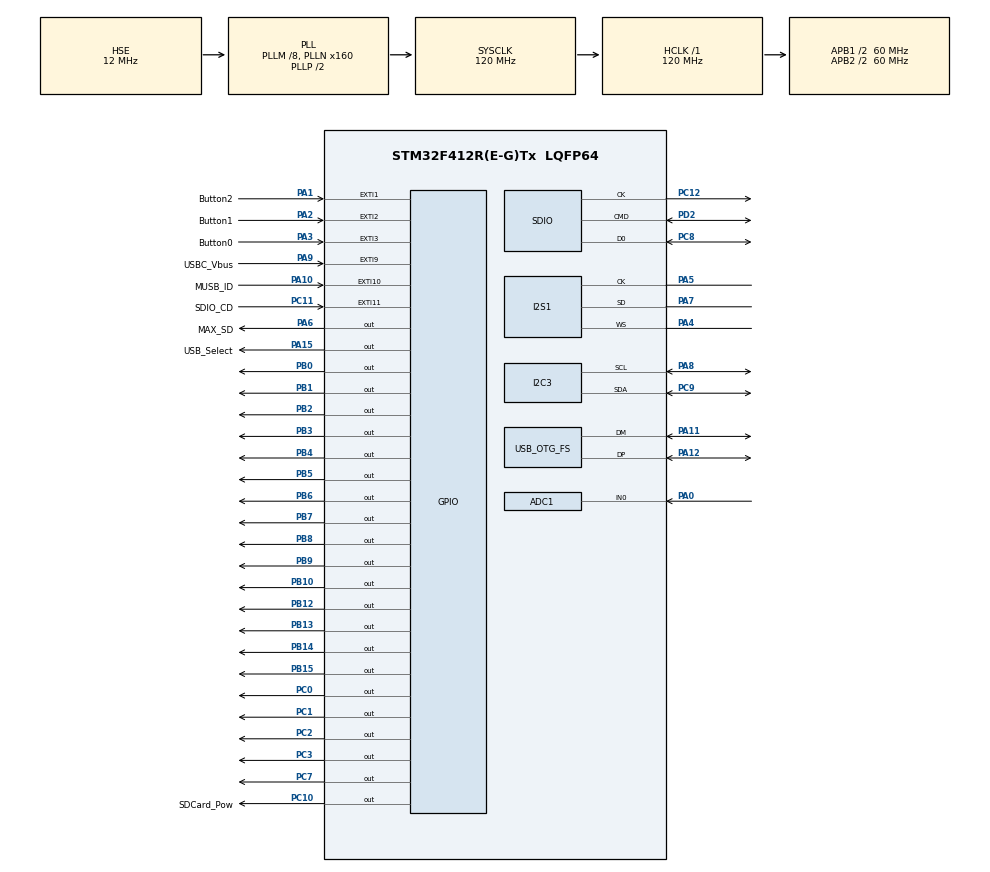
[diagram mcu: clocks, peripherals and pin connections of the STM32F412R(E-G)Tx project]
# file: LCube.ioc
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Dma.SPI1_TX.1.Priority=DMA_PRIORITY_MEDIUM
TIM1.OCIdleState_1=TIM_OCIDLESTATE_RESET
FATFS._USE_LFN=1
I2S1.ErrorAudioFreq=0.24 %
Dma.TIM1_CH1.4.MemDataAlignment=DMA_MDATAALIGN_HALFWORD
PB10.GPIO_PuPd=GPIO_PULLDOWN
PC9.GPIO_PuPdOD=GPIO_NOPULL
VP_FATFS_VS_SDIO.Mode=SDIO
I2C3.DutyCycle=I2C_DUTYCYCLE_2
Dma.SPI1_TX.1.FIFOMode=DMA_FIFOMODE_ENABLE
Dma.TIM1_CH2.5.MemInc=DMA_MINC_ENABLE
ADC1.LowThreshold=0x30
TIM1.OCIdleState_3=TIM_OCIDLESTATE_RESET
PC12.Signal=SDIO_CK
Dma.TIM1_CH1.4.Direction=DMA_MEMORY_TO_PERIPH
Dma.I2C3_TX.2.FIFOMode=DMA_FIFOMODE_DISABLE
Dma.I2C3_RX.3.Mode=DMA_NORMAL
I2S1.Mode=I2S_MODE_MASTER_TX
PB9.GPIO_ModeDefaultOutputPP=GPIO_MODE_OUTPUT_PP
VP_RTC_VS_RTC_Activate.Mode=RTC_Enabled
PC0.GPIO_ModeDefaultOutputPP=GPIO_MODE_OUTPUT_PP
PA6.GPIO_Label=MAX_SD
PB13.Signal=GPIO_Output
Dma.TIM1_UP.8.PeriphDataAlignment=DMA_PDATAALIGN_HALFWORD
PB3.GPIO_Speed=GPIO_SPEED_FREQ_MEDIUM
I2S1.Instance=SPI$Index
TIM4.TIM_MasterOutputTrigger=TIM_TRGO_UPDATE
PC3.GPIO_Speed=GPIO_SPEED_FREQ_MEDIUM
RCC.SYSCLKSource=RCC_SYSCLKSOURCE_PLLCLK
VP_TIM1_VS_no_output1.Mode=PWM Generation1 No Output
NVIC.EXTI1_IRQn=true\:15\:0\:true\:false\:true\:true\:true
PA4.Mode=Half_Duplex_Master
STMicroelectronics.X-CUBE-AI.5.1.2.ModelKind-7eaf034a37b35a45d6d7cf12b8d3d31f6f34ced2ad5d0e77518c34e53d65cea4=KERAS
RCC.APB2TimFreq_Value=120000000
Dma.I2C3_TX.2.Priority=DMA_PRIORITY_VERY_HIGH
PB6.Signal=GPIO_Output
VP_TIM10_VS_ClockSourceINT.Mode=Enable_Timer
Dma.ADC1.0.Direction=DMA_PERIPH_TO_MEMORY
PC7.Signal=GPIO_Output
ADC1.InjNumberOfConversion=0
PB15.GPIO_ModeDefaultOutputPP=GPIO_MODE_OUTPUT_PP
PC3.Signal=GPIO_Output
Dma.ADC1.0.MemDataAlignment=DMA_MDATAALIGN_HALFWORD
NVIC.EXTI15_10_IRQn=true\:15\:0\:true\:false\:true\:true\:true
Dma.SPI1_TX.1.PeriphDataAlignment=DMA_PDATAALIGN_HALFWORD
NVIC.TIM1_TRG_COM_TIM11_IRQn=true\:14\:0\:true\:false\:true\:true\:true
PB2.Signal=GPIO_Output
PB12.GPIO_ModeDefaultOutputPP=GPIO_MODE_OUTPUT_PP
PC1.GPIO_PuPd=GPIO_PULLDOWN
Dma.I2C3_TX.2.Instance=DMA1_Stream4
Dma.TIM1_CH4/TRIG/COM.7.Mode=DMA_CIRCULAR
TIM12.Period=1
STMicroelectronics.X-CUBE-AI.5.1.2.StackSize=0x4000
STMicroelectronics.X-CUBE-AI.5.1.2.ModelActualCompression-7eaf034a37b35a45d6d7cf12b8d3d31f6f34ced2ad5d0e77518c34e53d65cea4=0.0
Dma.TIM1_CH4/TRIG/COM.7.Priority=DMA_PRIORITY_HIGH
Dma.TIM1_CH1.4.FIFOMode=DMA_FIFOMODE_ENABLE
Dma.TIM1_UP.8.MemBurst=DMA_MBURST_INC8
Dma.SPI1_TX.1.Mode=DMA_CIRCULAR
PB1.GPIO_Speed=GPIO_SPEED_FREQ_MEDIUM
PA8.GPIO_PuPdOD=GPIO_NOPULL
TIM1.OC2Preload_PWM=ENABLE
PA5.GPIO_PuPd=GPIO_PULLDOWN
Dma.ADC1.0.PeriphInc=DMA_PINC_DISABLE
PC9.Mode=I2C
Dma.TIM1_CH4/TRIG/COM.7.FIFOMode=DMA_FIFOMODE_ENABLE
STMicroelectronics.X-CUBE-AI.5.1.2.ModelNameList=voicecommandsnn
FATFS._USE_MKFS=0
PA8.Signal=I2C3_SCL
Dma.TIM1_CH3.6.PeriphInc=DMA_PINC_DISABLE
Dma.TIM1_CH2.5.PeriphDataAlignment=DMA_PDATAALIGN_BYTE
TIM4.Period=3
Dma.TIM1_CH1.4.PeriphDataAlignment=DMA_PDATAALIGN_HALFWORD
PB2.GPIO_PuPd=GPIO_PULLDOWN
VP_TIM1_VS_ClockSourceINT.Mode=Internal
ADC1.SamplingTime-0\#ChannelRegularConversion=ADC_SAMPLETIME_144CYCLES
FATFS._FS_TIMEOUT=2000
PA0.Signal=ADCx_IN0
Dma.TIM1_CH2.5.MemDataAlignment=DMA_MDATAALIGN_BYTE
STMicroelectronics.X-CUBE-AI.5.1.2.MaximumNumberOfInputLayer=1
Mcu.Package=LQFP64
PB9.Signal=GPIO_Output
PB1.Signal=GPIO_Output
PB14.GPIO_PuPd=GPIO_PULLDOWN
PA10.GPIO_ModeDefaultEXTI=GPIO_MODE_IT_RISING_FALLING
PB6.GPIO_ModeDefaultOutputPP=GPIO_MODE_OUTPUT_PP
PA10.Signal=GPXTI10
PB9.GPIO_PuPd=GPIO_PULLDOWN
PA6.GPIO_ModeDefaultOutputPP=GPIO_MODE_OUTPUT_PP
PB5.GPIO_Speed=GPIO_SPEED_FREQ_MEDIUM
RCC.APB2CLKDivider=RCC_HCLK_DIV2
NVIC.DMA2_Stream2_IRQn=true\:12\:0\:true\:false\:true\:false\:true
NVIC.EXTI2_IRQn=true\:15\:0\:true\:false\:true\:true\:true
RCC.APB1TimFreq_Value=120000000
Dma.SPI1_TX.1.PeriphBurst=DMA_PBURST_SINGLE
Dma.ADC1.0.FIFOMode=DMA_FIFOMODE_ENABLE
PB0.GPIO_ModeDefaultOutputPP=GPIO_MODE_OUTPUT_PP
TIM1.Period=5999
TIM1.Channel-PWM\ Generation2\ No\ Output=TIM_CHANNEL_2
Dma.I2C3_TX.2.PeriphInc=DMA_PINC_DISABLE
PC12.GPIO_PuPd=GPIO_NOPULL
TIM5.CounterMode=TIM_COUNTERMODE_UP
PB2.GPIO_ModeDefaultOutputPP=GPIO_MODE_OUTPUT_PP
TIM1.OCFastMode_PWM-PWM\ Generation4\ No\ Output=TIM_OCFAST_ENABLE
VP_TIM5_VS_ClockSourceITR.Mode=TriggerSource_ITR2
ADC1.EOCSelection=ADC_EOC_SEQ_CONV
STMicroelectronics.X-CUBE-AI.5.1.2.MaximumNumberOfOutputLayer=1
Dma.SPI1_TX.1.Instance=DMA2_Stream3
FATFS._MIN_SS=512
PA5.Mode=Half_Duplex_Master
STMicroelectronics.X-CUBE-AI.5.1.2.ModelType-7eaf034a37b35a45d6d7cf12b8d3d31f6f34ced2ad5d0e77518c34e53d65cea4=Saved model
PB7.GPIO_PuPd=GPIO_PULLDOWN
PB5.GPIO_ModeDefaultOutputPP=GPIO_MODE_OUTPUT_PP
PC7.GPIO_ModeDefaultOutputPP=GPIO_MODE_OUTPUT_PP
Dma.I2C3_RX.3.Priority=DMA_PRIORITY_LOW
TIM1.OCPolarity_1=TIM_OCPOLARITY_HIGH
Dma.TIM1_CH2.5.FIFOMode=DMA_FIFOMODE_ENABLE
TIM1.OCPolarity_3=TIM_OCPOLARITY_HIGH
Dma.ADC1.0.Instance=DMA2_Stream0
ADC1.Rank-0\#ChannelRegularConversion=1
Dma.TIM1_CH4/TRIG/COM.7.Direction=DMA_MEMORY_TO_PERIPH
PD2.GPIO_PuPd=GPIO_NOPULL
Dma.TIM1_CH2.5.PeriphBurst=DMA_PBURST_SINGLE
TIM1.CounterMode=TIM_COUNTERMODE_DOWN
PA9.GPIO_Label=USBC_Vbus
PB6.GPIO_PuPd=GPIO_PULLDOWN
TIM1.OC3Preload_PWM=ENABLE
PH1\ -\ OSC_OUT.Mode=HSE-External-Oscillator
PB8.GPIO_PuPd=GPIO_PULLDOWN
PC2.Signal=GPIO_Output
TIM1.OC4Preload_PWM=ENABLE
TIM4.TIM_MasterSlaveMode=TIM_MASTERSLAVEMODE_DISABLE
NVIC.DMA2_Stream1_IRQn=true\:12\:0\:true\:false\:true\:false\:true
PC0.Signal=GPIO_Output
RCC.APB1CLKDivider=RCC_HCLK_DIV2
PC14-OSC32_IN.Signal=RCC_OSC32_IN
ADC1.WatchdogMode=ADC_ANALOGWATCHDOG_SINGLE_REG
PA3.GPIO_ModeDefaultEXTI=GPIO_MODE_IT_RISING_FALLING
I2S1.Standard=I2S_STANDARD_PHILIPS
SDIO.ClockPowerSave=SDIO_CLOCK_POWER_SAVE_DISABLE
TIM1.AutoReloadPreload=TIM_AUTORELOAD_PRELOAD_DISABLE
Dma.SPI1_TX.1.MemDataAlignment=DMA_MDATAALIGN_HALFWORD
PB14.GPIO_Speed=GPIO_SPEED_FREQ_MEDIUM
Dma.ADC1.0.Priority=DMA_PRIORITY_LOW
PA9.Signal=GPXTI9
PB13.GPIO_Speed=GPIO_SPEED_FREQ_MEDIUM
VP_TIM1_VS_ClockSourceITR.Mode=TriggerSource_ITR0
STMicroelectronics.X-CUBE-AI.5.1.2.InternalRamActivationBufferMaxSize=AI_VOICECOMMANDSNN_DATA_ACTIVATIONS_SIZE
PB4.GPIO_PuPd=GPIO_PULLDOWN
PC7.GPIO_PuPd=GPIO_PULLDOWN
Dma.TIM1_CH4/TRIG/COM.7.Instance=DMA2_Stream4
SDIO.ClockDiv=2
NVIC.DMA2_Stream6_IRQn=true\:12\:0\:true\:false\:true\:false\:true
PB10.Signal=GPIO_Output
PB14.Signal=GPIO_Output
PA5.Signal=I2S1_CK
PC12.Mode=SD_1_bit
PH1\ -\ OSC_OUT.Signal=RCC_OSC_OUT
Dma.TIM1_UP.8.FIFOThreshold=DMA_FIFO_THRESHOLD_FULL
FATFS._USE_EXPAND=1
Dma.TIM1_UP.8.PeriphBurst=DMA_PBURST_SINGLE
Dma.TIM1_CH3.6.MemBurst=DMA_MBURST_INC8
Dma.TIM1_CH1.4.Priority=DMA_PRIORITY_HIGH
PA7.GPIO_Speed=GPIO_SPEED_FREQ_LOW
PB13.GPIO_PuPd=GPIO_PULLDOWN
TIM1.TIM_MasterOutputTrigger=TIM_TRGO_RESET
STMicroelectronics.X-CUBE-AI.5.1.2.ActivationBufferSizeList=21352
PC11.GPIO_ModeDefaultEXTI=GPIO_MODE_IT_RISING_FALLING
VP_TIM1_VS_no_output3.Mode=PWM Generation3 No Output
VP_TIM4_VS_ClockSourceITR.Mode=TriggerSource_ITR2
PA1.GPIO_Label=Button2
RCC.RCC_RTC_Clock_SourceVirtual=RCC_RTCCLKSOURCE_LSE
PC1.GPIO_Speed=GPIO_SPEED_FREQ_MEDIUM
Dma.I2C3_RX.3.PeriphDataAlignment=DMA_PDATAALIGN_BYTE
I2S1.FullDuplexMode=I2S_FULLDUPLEXMODE_DISABLE
ADC1.DMAContinuousRequests=ENABLE
Dma.TIM1_CH2.5.Instance=DMA2_Stream2
VP_TIM12_VS_OPM.Mode=OPM_bit
PA13.Mode=Serial_Wire
TIM1.Channel-PWM\ Generation4\ No\ Output=TIM_CHANNEL_4
TIM1.OCFastMode_PWM-PWM\ Generation2\ No\ Output=TIM_OCFAST_ENABLE
NVIC.TIM1_BRK_TIM9_IRQn=true\:15\:0\:true\:false\:true\:true\:true
NVIC.DMA2_Stream4_IRQn=true\:12\:0\:true\:false\:true\:false\:true
ADC1.ExternalTrigConv=ADC_EXTERNALTRIGCONV_T3_TRGO
PC8.Mode=SD_1_bit
PC12.GPIO_Speed_High_Default=GPIO_SPEED_FREQ_HIGH
PC8.GPIO_PuPd=GPIO_NOPULL
PC8.GPIO_Speed_High_Default=GPIO_SPEED_FREQ_HIGH
PA4.Signal=I2S1_WS
PB5.Signal=GPIO_Output
ADC1.master=1
Dma.TIM1_CH2.5.FIFOThreshold=DMA_FIFO_THRESHOLD_FULL
TIM1.OCFastMode_PWM-PWM\ Generation1\ No\ Output=TIM_OCFAST_ENABLE
PB5.GPIO_PuPd=GPIO_PULLDOWN
VP_TIM5_VS_ControllerModeClock.Mode=Clock Mode
PA11.Signal=USB_OTG_FS_DM
ProjectManager.HeapSize=0x10000
Dma.I2C3_RX.3.MemInc=DMA_MINC_ENABLE
NVIC.TIM1_UP_TIM10_IRQn=true\:13\:0\:true\:false\:true\:true\:true
Dma.TIM1_CH3.6.Mode=DMA_CIRCULAR
VP_TIM4_VS_ClockSourceINT.Mode=Internal
NVIC.PriorityGroup=NVIC_PRIORITYGROUP_4
STMicroelectronics.X-CUBE-AI.5.1.2.WorkingBufferStartAddrList=0xFFFFFFFF
SDIO.HardwareFlowControl=SDIO_HARDWARE_FLOW_CONTROL_ENABLE
PA8.Mode=I2C
Dma.TIM1_CH4/TRIG/COM.7.FIFOThreshold=DMA_FIFO_THRESHOLD_FULL
PC3.GPIO_ModeDefaultOutputPP=GPIO_MODE_OUTPUT_PP
PB1.GPIO_ModeDefaultOutputPP=GPIO_MODE_OUTPUT_PP
PD2.Signal=SDIO_CMD
PB6.GPIO_Speed=GPIO_SPEED_FREQ_MEDIUM
PB12.GPIO_PuPd=GPIO_PULLDOWN
Dma.TIM1_CH1.4.PeriphInc=DMA_PINC_DISABLE
PB0.Signal=GPIO_Output
PC1.Signal=GPIO_Output
I2S1.CPOL=I2S_CPOL_LOW
Mcu.Family=STM32F4
ADC1.ITMode=ENABLE
VP_STMicroelectronics.X-CUBE-AI_VS_ArtificialOoIntelligenceJjXAaCUBEAaAI_5.1.2.Mode=ArtificialOoIntelligenceJjXAaCUBEAaAI
RCC.CortexFreq_Value=120000000
PB10.GPIO_Speed=GPIO_SPEED_FREQ_MEDIUM
Dma.I2C3_TX.2.MemDataAlignment=DMA_MDATAALIGN_BYTE
ADC1.ContinuousConvMode=DISABLE
PC10.Signal=GPIO_Output
PB2.GPIO_Speed=GPIO_SPEED_FREQ_MEDIUM
Dma.SPI1_TX.1.PeriphInc=DMA_PINC_DISABLE
Dma.TIM1_CH3.6.MemInc=DMA_MINC_ENABLE
NVIC.EXTI3_IRQn=true\:15\:0\:true\:false\:true\:true\:true
Dma.TIM1_CH3.6.Instance=DMA2_Stream6
PA11.Mode=Device_Only
Dma.ADC1.0.FIFOThreshold=DMA_FIFO_THRESHOLD_FULL
STMicroelectronics.X-CUBE-AI.5.1.2.MaximumSizeOfInputLayer=AI_VOICECOMMANDSNN_IN_1_SIZE_BYTES
PC2.GPIO_Speed=GPIO_SPEED_FREQ_MEDIUM
NVIC.DMA1_Stream4_IRQn=true\:14\:0\:true\:false\:true\:false\:true
PB15.Signal=GPIO_Output
Dma.TIM1_CH4/TRIG/COM.7.MemBurst=DMA_MBURST_INC16
Dma.TIM1_UP.8.FIFOMode=DMA_FIFOMODE_ENABLE
ProjectManager.StackSize=0x4000
TIM1.OC1Preload_PWM=ENABLE
NVIC.ADC_IRQn=true\:9\:0\:true\:false\:true\:true\:true
PA15.GPIO_Label=USB_Select
PC11.GPIO_PuPd=GPIO_PULLUP
PB10.GPIO_ModeDefaultOutputPP=GPIO_MODE_OUTPUT_PP
Dma.TIM1_UP.8.MemInc=DMA_MINC_ENABLE
PA12.Signal=USB_OTG_FS_DP
Dma.TIM1_UP.8.Priority=DMA_PRIORITY_VERY_HIGH
TIM1.Prescaler=0
PH0\ -\ OSC_IN.Signal=RCC_OSC_IN
RCC.RCC_RTC_Clock_Source=RCC_RTCCLKSOURCE_LSE
PB1.GPIO_PuPd=GPIO_PULLDOWN
RCC.HCLKFreq_Value=120000000
RCC.FLatency=FLASH_LATENCY_4
TIM3.Period=1
Dma.TIM1_CH1.4.MemBurst=DMA_MBURST_INC8
Dma.TIM1_CH2.5.Direction=DMA_MEMORY_TO_PERIPH
Dma.TIM1_UP.8.MemDataAlignment=DMA_MDATAALIGN_HALFWORD
PB13.GPIO_ModeDefaultOutputPP=GPIO_MODE_OUTPUT_PP
NVIC.DMA2_Stream0_IRQn=true\:13\:0\:true\:false\:true\:false\:true
RCC.AHBFreq_Value=120000000
Dma.TIM1_CH1.4.MemInc=DMA_MINC_ENABLE
Dma.TIM1_CH4/TRIG/COM.7.PeriphInc=DMA_PINC_DISABLE
ADC1.Channel-0\#ChannelRegularConversion=ADC_CHANNEL_0
RCC.HSE_VALUE=12000000
PA4.GPIO_PuPd=GPIO_PULLDOWN
Dma.ADC1.0.PeriphBurst=DMA_PBURST_SINGLE
PA4.GPIO_Speed=GPIO_SPEED_FREQ_LOW
NVIC.I2C3_EV_IRQn=true\:12\:0\:true\:false\:true\:true\:true
TIM1.Channel-PWM\ Generation3\ No\ Output=TIM_CHANNEL_3
Dma.TIM1_CH3.6.Priority=DMA_PRIORITY_HIGH
PA6.GPIO_PuPd=GPIO_PULLUP
PB3.GPIO_PuPd=GPIO_PULLDOWN
Dma.I2C3_RX.3.Direction=DMA_PERIPH_TO_MEMORY
STMicroelectronics.X-CUBE-AI.5.1.2.ModelFlashOccupation-7eaf034a37b35a45d6d7cf12b8d3d31f6f34ced2ad5d0e77518c34e53d65cea4=45420
Dma.TIM1_CH3.6.FIFOThreshold=DMA_FIFO_THRESHOLD_FULL
PC14-OSC32_IN.Mode=LSE-External-Oscillator
TIM1.OCFastMode_PWM-PWM\ Generation3\ No\ Output=TIM_OCFAST_ENABLE
PA14.Mode=Serial_Wire
TIM3.Prescaler=1874
PC11.GPIO_Label=SDIO_CD
Dma.TIM1_CH2.5.PeriphInc=DMA_PINC_DISABLE
PA10.GPIO_Label=MUSB_ID
PB7.Signal=GPIO_Output
STMicroelectronics.X-CUBE-AI.5.1.2.ModelStructureFile-7eaf034a37b35a45d6d7cf12b8d3d31f6f34ced2ad5d0e77518c34e53d65cea4=D\:\\Projects\\NN_Ledokol\\model.h5
SH.ADCx_IN0.0=ADC1_IN0,IN0
VP_TIM12_VS_ClockSourceINT.Mode=Internal
VP_TIM11_VS_OPM.Mode=OPM_bit
Dma.SPI1_TX.1.MemBurst=DMA_MBURST_INC8
Dma.TIM1_CH3.6.PeriphBurst=DMA_PBURST_SINGLE
Dma.I2C3_TX.2.PeriphDataAlignment=DMA_PDATAALIGN_BYTE
PA6.Signal=GPIO_Output
PB15.GPIO_PuPd=GPIO_PULLDOWN
NVIC.OTG_FS_IRQn=true\:7\:0\:true\:false\:true\:true\:true
PA2.GPIO_Label=Button1
Dma.TIM1_CH2.5.Mode=DMA_CIRCULAR
USB_OTG_FS.VirtualMode=Device_Only
PA15.Signal=GPIO_Output
PB8.GPIO_ModeDefaultOutputPP=GPIO_MODE_OUTPUT_PP
Dma.TIM1_UP.8.Instance=DMA2_Stream5
PB9.GPIO_Speed=GPIO_SPEED_FREQ_MEDIUM
TIM1.BreakState=TIM_BREAK_DISABLE
Dma.ADC1.0.MemBurst=DMA_MBURST_INC8
PC2.GPIO_ModeDefaultOutputPP=GPIO_MODE_OUTPUT_PP
Dma.Request2=I2C3_TX
Dma.Request1=SPI1_TX
Dma.Request4=TIM1_CH1
Dma.Request3=I2C3_RX
Dma.Request6=TIM1_CH3
Dma.Request5=TIM1_CH2
Dma.Request8=TIM1_UP
Dma.Request7=TIM1_CH4/TRIG/COM
PC0.GPIO_PuPd=GPIO_PULLDOWN
Dma.Request0=ADC1
PA1.GPIO_ModeDefaultEXTI=GPIO_MODE_IT_RISING_FALLING
VP_TIM3_VS_ClockSourceINT.Mode=Internal
STMicroelectronics.X-CUBE-AI.5.1.2.ModelHashList=7eaf034a37b35a45d6d7cf12b8d3d31f6f34ced2ad5d0e77518c34e53d65cea4
PB4.Signal=GPIO_Output
PB4.GPIO_ModeDefaultOutputPP=GPIO_MODE_OUTPUT_PP
PA3.Signal=GPXTI3
Dma.I2C3_TX.2.Mode=DMA_NORMAL
PB7.GPIO_Speed=GPIO_SPEED_FREQ_MEDIUM
STMicroelectronics.X-CUBE-AI.5.1.2.MaximumSizeOfOutputLayer=AI_VOICECOMMANDSNN_OUT_1_SIZE_BYTES
PC15-OSC32_OUT.Mode=LSE-External-Oscillator
Dma.I2C3_RX.3.FIFOMode=DMA_FIFOMODE_DISABLE
Dma.TIM1_CH2.5.Priority=DMA_PRIORITY_HIGH
I2C3.I2C_Mode=I2C_Fast
Dma.SPI1_TX.1.MemInc=DMA_MINC_ENABLE
TIM1.OCMode_PWM-PWM\ Generation4\ No\ Output=TIM_OCMODE_PWM1
STMicroelectronics.X-CUBE-AI.5.1.2.LatestDirectoryUsed-7eaf034a37b35a45d6d7cf12b8d3d31f6f34ced2ad5d0e77518c34e53d65cea4=D\:\\Projects\\NN_Ledokol
PA7.Mode=Half_Duplex_Master
PC10.GPIO_Label=SDCard_Pow
STMicroelectronics.X-CUBE-AI.5.1.2.ModelRamOccupation-7eaf034a37b35a45d6d7cf12b8d3d31f6f34ced2ad5d0e77518c34e53d65cea4=21352
Dma.TIM1_CH1.4.FIFOThreshold=DMA_FIFO_THRESHOLD_FULL
PC11.Signal=GPXTI11
Dma.TIM1_CH1.4.Instance=DMA2_Stream1
RCC.RCC_TIM_PRescaler_Selection=RCC_TIMPRES_DESACTIVATED
PC8.Signal=SDIO_D0
TIM1.Pulse-PWM\ Generation1\ No\ Output=5980
Dma.TIM1_UP.8.Mode=DMA_CIRCULAR
I2S1.AudioFreq=AudioFreqCustomValue
NVIC.DMA1_Stream1_IRQn=true\:14\:0\:false\:false\:true\:false\:true
VP_RNG_VS_RNG.Mode=RNG_Activate
Dma.SPI1_TX.1.Direction=DMA_MEMORY_TO_PERIPH
TIM5.ClockDivision=TIM_CLOCKDIVISION_DIV1
VP_TIM11_VS_ClockSourceINT.Mode=Enable_Timer
TIM1.ClockDivision=TIM_CLOCKDIVISION_DIV1
TIM1.Channel-PWM\ Generation1\ No\ Output=TIM_CHANNEL_1
TIM1.Pulse-PWM\ Generation2\ No\ Output=5980
PB0.GPIO_Speed=GPIO_SPEED_FREQ_MEDIUM
SDIO.ClockBypass=SDIO_CLOCK_BYPASS_DISABLE
PA13.Signal=SYS_JTMS-SWDIO
Dma.ADC1.0.PeriphDataAlignment=DMA_PDATAALIGN_HALFWORD
STMicroelectronics.X-CUBE-AI.5.1.2.ModelMacc-7eaf034a37b35a45d6d7cf12b8d3d31f6f34ced2ad5d0e77518c34e53d65cea4=406205
PH0\ -\ OSC_IN.Mode=HSE-External-Oscillator
PC0.GPIO_Speed=GPIO_SPEED_FREQ_MEDIUM
Dma.I2C3_RX.3.PeriphInc=DMA_PINC_DISABLE
ProjectManager.TargetToolchain=STM32CubeIDE
ADC1.HighThreshold=0xFCF
TIM1.OCMode_PWM-PWM\ Generation3\ No\ Output=TIM_OCMODE_PWM1
Dma.ADC1.0.Mode=DMA_CIRCULAR
FATFS._CODE_PAGE=866
NVIC.TIM8_BRK_TIM12_IRQn=true\:15\:0\:true\:false\:true\:true\:true
Dma.TIM1_CH3.6.MemDataAlignment=DMA_MDATAALIGN_HALFWORD
I2S1.VirtualMode=I2S_MODE_MASTER
Dma.TIM1_UP.8.Direction=DMA_MEMORY_TO_PERIPH
Dma.I2C3_RX.3.Instance=DMA1_Stream1
RCC.USBFreq_Value=48000000
NVIC.DMA2_Stream3_IRQn=true\:6\:0\:true\:false\:true\:false\:true
PC15-OSC32_OUT.Signal=RCC_OSC32_OUT
PB14.GPIO_ModeDefaultOutputPP=GPIO_MODE_OUTPUT_PP
PA7.GPIO_PuPd=GPIO_PULLUP
PA1.Signal=GPXTI1
PB12.GPIO_Speed=GPIO_SPEED_FREQ_MEDIUM
PD2.Mode=SD_1_bit
Dma.SPI1_TX.1.FIFOThreshold=DMA_FIFO_THRESHOLD_FULL
Dma.TIM1_CH1.4.PeriphBurst=DMA_PBURST_SINGLE
Dma.TIM1_UP.8.PeriphInc=DMA_PINC_DISABLE
board=custom
PC7.GPIO_Speed=GPIO_SPEED_FREQ_MEDIUM
RCC.VCOOutputFreq_Value=240000000
TIM11.Period=1
VP_TIM1_VS_no_output4.Mode=PWM Generation4 No Output
ADC1.EnableAnalogWatchDog=true
Dma.TIM1_CH4/TRIG/COM.7.MemInc=DMA_MINC_ENABLE
TIM1.Pulse-PWM\ Generation4\ No\ Output=700
FATFS._FS_NORTC=1
FATFS.USE_DMA_CODE_SD=0
TIM10.Period=1
PB4.GPIO_Speed=GPIO_SPEED_FREQ_MEDIUM
RCC.APB2Freq_Value=60000000
FATFS._FS_EXFAT=1
Dma.I2C3_TX.2.MemInc=DMA_MINC_ENABLE
TIM1.OCMode_PWM-PWM\ Generation1\ No\ Output=TIM_OCMODE_PWM1
PB7.GPIO_ModeDefaultOutputPP=GPIO_MODE_OUTPUT_PP
PB15.GPIO_Speed=GPIO_SPEED_FREQ_MEDIUM
NVIC.DMA2_Stream5_IRQn=true\:11\:0\:true\:false\:true\:false\:true
Dma.TIM1_CH3.6.FIFOMode=DMA_FIFOMODE_ENABLE
STMicroelectronics.X-CUBE-AI.5.1.2.ModelCompression-7eaf034a37b35a45d6d7cf12b8d3d31f6f34ced2ad5d0e77518c34e53d65cea4=1
STMicroelectronics.X-CUBE-AI.5.1.2.XAaCUBEAaAICcArtificialOoIntelligenceJjCore=true
PC2.GPIO_PuPd=GPIO_PULLDOWN
VP_TIM1_VS_no_output2.Mode=PWM Generation2 No Output
ADC1.NbrOfConversion=1
Mcu.Name=STM32F412R(E-G)Tx
STMicroelectronics.X-CUBE-AI.5.1.2.HeapSize=0x10000
PA2.Signal=GPXTI2
STMicroelectronics.X-CUBE-AI.5.1.2.ModelName-7eaf034a37b35a45d6d7cf12b8d3d31f6f34ced2ad5d0e77518c34e53d65cea4=voicecommandsnn
FATFS._MAX_SS=4096
VP_TIM10_VS_OPM.Mode=OPM_bit
Dma.TIM1_CH3.6.PeriphDataAlignment=DMA_PDATAALIGN_HALFWORD
Dma.TIM1_CH4/TRIG/COM.7.PeriphDataAlignment=DMA_PDATAALIGN_BYTE
PB3.Signal=GPIO_Output
RCC.SYSCLKFreq_VALUE=120000000
PA12.Mode=Device_Only
I2S1.AudioFreqCustom=44100
TIM5.Prescaler=29999
Dma.TIM1_CH3.6.Direction=DMA_MEMORY_TO_PERIPH
NVIC.EXTI9_5_IRQn=true\:15\:0\:true\:false\:true\:true\:true
PA14.Signal=SYS_JTCK-SWCLK
Dma.ADC1.0.MemInc=DMA_MINC_ENABLE
FATFS._USE_TRIM=0
PA2.GPIO_ModeDefaultEXTI=GPIO_MODE_IT_RISING_FALLING
Dma.I2C3_RX.3.MemDataAlignment=DMA_MDATAALIGN_BYTE
PA5.GPIO_Speed=GPIO_SPEED_FREQ_LOW
RCC.PLLQ=5
PC1.GPIO_ModeDefaultOutputPP=GPIO_MODE_OUTPUT_PP
RCC.PLLR=5
ADC1.NbrOfConversionFlag=1
RCC.PLLM=8
RCC.PLLN=160
PA9.GPIO_ModeDefaultEXTI=GPIO_MODE_IT_RISING_FALLING
Dma.I2C3_TX.2.Direction=DMA_MEMORY_TO_PERIPH
PB8.Signal=GPIO_Output
TIM1.Pulse-PWM\ Generation3\ No\ Output=500
Dma.TIM1_CH2.5.MemBurst=DMA_MBURST_INC8
TIM5.Period=0xffffffff
PC9.Signal=I2C3_SDA
I2S1.RealAudioFreq=44.109 KHz
TIM3.TIM_MasterOutputTrigger=TIM_TRGO_UPDATE
PD2.GPIO_Speed_High_Default=GPIO_SPEED_FREQ_HIGH
ADC1.DataAlign=ADC_DATAALIGN_LEFT
RCC.APB1Freq_Value=60000000
PB8.GPIO_Speed=GPIO_SPEED_FREQ_MEDIUM
VP_CRC_VS_CRC.Mode=CRC_Activate
RCC.PLLI2SR=7
RCC.PLLI2SN=317
Dma.TIM1_CH4/TRIG/COM.7.MemDataAlignment=DMA_MDATAALIGN_BYTE
RCC.PLLI2SP=RCC_PLLI2SP_DIV8
PB12.Signal=GPIO_Output
RCC.PLLI2SQ=8
PB0.GPIO_PuPd=GPIO_PULLDOWN
TIM1.TIM_MasterSlaveMode=TIM_MASTERSLAVEMODE_DISABLE
PC3.GPIO_PuPd=GPIO_PULLDOWN
PB3.GPIO_ModeDefaultOutputPP=GPIO_MODE_OUTPUT_PP
PA3.GPIO_Label=Button0
RCC.PLLI2SM=11
TIM1.OCMode_PWM-PWM\ Generation2\ No\ Output=TIM_OCMODE_PWM1
PA7.Signal=I2S1_SD
Dma.TIM1_CH4/TRIG/COM.7.PeriphBurst=DMA_PBURST_SINGLE
Dma.TIM1_CH1.4.Mode=DMA_CIRCULAR

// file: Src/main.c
/* USER CODE BEGIN Header */
/**
  ******************************************************************************
  * @file           : main.c
  * @brief          : Main program body
  ******************************************************************************
  * @attention
  *
  * <h2><center>&copy; Copyright (c) 2020 STMicroelectronics.
  * All rights reserved.</center></h2>
  *
  * This software component is licensed by ST under BSD 3-Clause license,
  * the "License"; You may not use this file except in compliance with the
  * License. You may obtain a copy of the License at:
  *                        opensource.org/licenses/BSD-3-Clause
  *
  ******************************************************************************
  */
/* USER CODE END Header */
#include "main.h"
#include "adc.h"
#include "crc.h"
#include "dma.h"
#include "fatfs.h"
#include "i2c.h"
#include "i2s.h"
#include "rng.h"
#include "rtc.h"
#include "tim.h"
#include "gpio.h"

/* USER CODE BEGIN Includes */
#include "sdio.h"
#include "LEDVisualization.h"
#include "AudioProcessing.h"
#include "Microphone.h"
#include "buttons.h"
#include "WavePlayer.h"
#include "NN.h"
#include "NN_Detection.h"

/* USER CODE END Includes */

/* USER CODE BEGIN PV */
extern ringBuffer_Int16 buffer;
/* USER CODE END PV */

void SystemClock_Config(void);

/* USER CODE BEGIN 0 */
#define AUDIO_CLOCK_PLLI2SN_MAX 318U
#define AUDIO_CLOCK_PLLI2SN_MIN 316U

void audio_clock_increase()
{
	//�?зменяем множитель PLL для аудио.
	uint32_t clockMul = (RCC->PLLI2SCFGR & ~0xFFFF803F) >> 6;
	if (clockMul < AUDIO_CLOCK_PLLI2SN_MAX)
	{
		RCC->PLLI2SCFGR = (RCC->PLLI2SCFGR & 0xFFFF803F) | (AUDIO_CLOCK_PLLI2SN_MAX << 6);
	}

}

void audio_clock_decrease()
{
	//�?зменяем множитель PLL для аудио.
	uint32_t clockMul = (RCC->PLLI2SCFGR & ~0xFFFF803F) >> 6;
	if (clockMul > AUDIO_CLOCK_PLLI2SN_MIN)
	{
		RCC->PLLI2SCFGR = (RCC->PLLI2SCFGR & 0xFFFF803F) | (AUDIO_CLOCK_PLLI2SN_MIN << 6);
	}
}

void HAL_IncTick()
{

}

inline uint32_t HAL_GetTick()
{
	return get_device_counter();
}

/**
 * Определение рабочего usb
 */
void detect_usb_input()
{
	//По очереди включаем usb входы и проверяем на наличие sof-пакетов
	static uint32_t step = 0;
	static uint32_t timTick = 0xffff;
	if (device.USBInput != USB_INPUT_UNDEFINED)
	{
		//Проверка, работает ли текущее соединение
		if (((get_device_counter() - timTick) > 20000) && step == 0)
		{
			device.USBInput = USB_INPUT_NONE;
			USB_OTG_FS->GINTMSK |= 1 << 3; //Enable SOF Interrupt
			timTick = get_device_counter();
			step = 1;
		}else if (((get_device_counter() - timTick) > 5000) && step == 1)
		{
			if (device.USBInput == USB_INPUT_NONE)
			{
				device.USBInput = USB_INPUT_UNDEFINED;
			}
			step = 0;
			timTick = get_device_counter();
		}
	}else
	{
		//Определение рабочего usb
		if (step == 0)
		{
			HAL_GPIO_WritePin(USB_Select_GPIO_Port, USB_Select_Pin, 0);
			step = 1;
			timTick = get_device_counter();
		}else if (step == 1 && (get_device_counter() - timTick) > 10)
		{
			MX_USB_DEVICE_Init();
			step = 2;
			timTick = get_device_counter();
		}else if (step == 2 && (get_device_counter() - timTick) > 3000)
		{
			if (device.USBInput == USB_INPUT_UNDEFINED)
			{
				HAL_GPIO_WritePin(USB_Select_GPIO_Port, USB_Select_Pin, 1);
				step = 3;
			}else step = 0;
			timTick = get_device_counter();
			EXTI->RTSR |= USBC_Vbus_Pin;
			EXTI->FTSR |= USBC_Vbus_Pin;
			EXTI->RTSR |= MUSB_ID_Pin;
			EXTI->FTSR |= MUSB_ID_Pin;
		}else if (step == 3 && (get_device_counter() - timTick) > 10)
		{
			MX_USB_DEVICE_Init();
			step = 4;
			timTick = get_device_counter();
		}else if (step == 4 && (get_device_counter() - timTick) > 3000)
		{
			if (device.USBInput == USB_INPUT_UNDEFINED) device.USBInput = USB_INPUT_NONE;
			step = 0;
			timTick = get_device_counter();
		}
	}
//	HAL_Delay(2000);
//	HAL_GPIO_WritePin(USB_Select_GPIO_Port, USB_Select_Pin, 0);
//	HAL_Delay(1);
//	MX_USB_DEVICE_Init();
//	HAL_Delay(2000);
//	if (device.USBInput == USB_INPUT_UNDEFINED)
//	{
//		HAL_GPIO_WritePin(USB_Select_GPIO_Port, USB_Select_Pin, 1);
//		HAL_Delay(1);
//		MX_USB_DEVICE_Init();
//	}
//	HAL_Delay(2000);
//	if (device.USBInput == USB_INPUT_UNDEFINED) device.USBInput = USB_INPUT_NONE;
//	EXTI->RTSR |= USBC_Vbus_Pin;
//	EXTI->FTSR |= USBC_Vbus_Pin;
//	EXTI->RTSR |= MUSB_ID_Pin;
//	EXTI->FTSR |= MUSB_ID_Pin;
}

void buttons_control()
{
	uint8_t pcnt[3] = {0};
	uint16_t ptime[3] = {0};
	uint8_t pbtn = buttons_stateEx(pcnt, ptime); //Нажатые кнопки
	if ((pbtn == (BUTTON0 | BUTTON2)) && (ptime[0] > 0x0200) && (ptime[2] > 0x0200))
	{
		VisualizationStop(device.visualizationStatus ? DISABLE : ENABLE);
	}else if ((pbtn == BUTTON1) && (ptime[1] > 0x0300))
	{
		if (device.audio.muteVoice) NN_Action_UnMuteCommands(0);
		else NN_Action_MuteCommands(0);
	}else if ((pbtn) == BUTTON0)
	{
		uint32_t vis = device.visualization != 0 ? device.visualization - 1 : VISUALIZATION_STATE_MICROPHONE_AUDIO_VIS;
		InitLEDVisualization(vis);
	}else if ((pbtn) == BUTTON2)
	{
		uint32_t vis = device.visualization >= VISUALIZATION_STATE_TIME_VIS ? VISUALIZATION_STATE_MICROPHONE_AUDIO_VIS : device.visualization + 1;
		InitLEDVisualization(vis);
	}else if ((pbtn) == BUTTON1)
	{
		if (device.audio.muteAudio) NN_Action_UnMuteSound(0);
		else NN_Action_MuteSound(0);
	}
}

/**
 * �?нициализация SD карты
 */
void sdcard_init()
{
	static uint32_t updateSDCardTick = 0xffff;
	if (device.sdcard.sdcardInitialization > 0)
	{
		if (device.sdcard.sdcardInitialization == SDCARD_INITIALIZATION_START)
		{
			HAL_GPIO_WritePin(SDCard_Pow_GPIO_Port, SDCard_Pow_Pin, 1);
			updateSDCardTick = get_device_counter();
			device.sdcard.sdcardInitialization = SDCARD_INITIALIZATION_POWERON;
		}else if (device.sdcard.sdcardInitialization == SDCARD_INITIALIZATION_POWERON)
		{
			if ((get_device_counter() - updateSDCardTick) > 2000)
			{
				MX_FATFS_Init();
				if (f_mount(&SDFatFS, (const TCHAR*)SDPath, 1) == FR_OK)
				{
					device.sdcard.sdcardInitialization = SDCARD_INITIALIZATION_MOUNTED;
				}
			}
		}
	}
}

/**
 * Обновление данных температуры/влажности
 */
void update_sensor_data()
{
	static uint32_t updateTempTick = 0xffffff;
	if ((get_device_counter() - updateTempTick) > 30000)
	{
		static uint32_t step = 0;
		if (step++ & 1) HDC1080_TriggerMeasurement();
		else HDC1080_ReadData_TriggerDMAReceive();
		updateTempTick = get_device_counter();
	}
}

/* USER CODE END 0 */

int main(void)
{

  /* MCU Configuration--------------------------------------------------------*/

  /* Reset of all peripherals, Initializes the Flash interface and the Systick. */
  HAL_Init();

  /* Configure the system clock */
  SystemClock_Config();

  /* USER CODE BEGIN SysInit */
  	SysTick->CTRL = 0; //disable systick
  	MX_TIM4_Init();
	MX_TIM5_Init();
	HAL_TIM_Base_Start(&htim4);
	HAL_TIM_Base_Start(&htim5); //start device counter
  /* USER CODE END SysInit */

  /* Initialize all configured peripherals */
  MX_GPIO_Init();
  MX_DMA_Init();
  MX_ADC1_Init();
  MX_I2C3_Init();
  MX_I2S1_Init();
  MX_RTC_Init();
  MX_TIM1_Init();
  MX_TIM3_Init();
  MX_CRC_Init();
  MX_TIM10_Init();
  MX_TIM11_Init();
  MX_TIM12_Init();
  MX_RNG_Init();
  /* USER CODE BEGIN 2 */
  //�?нициализация нейросети
  MX_SDIO_SD_Init();
  NN_Init();
  //�?нициализация sdcard
  if (!HAL_GPIO_ReadPin(SDIO_CD_GPIO_Port, SDIO_CD_Pin))
  {
    //Вкл питание
    HAL_GPIO_WritePin(SDCard_Pow_GPIO_Port, SDCard_Pow_Pin, 1);
  }

  HAL_GPIO_WritePin(GPIOB, 0x9249, 1);
  GPIOC->BSRR = 0b10000000 << 16;
  //Триггер измерения темп/вл
  HDC1080_TriggerMeasurement();
  HAL_Delay(1000);
  //�?нициализация системы определения голосовых команд
  NN_Detect_Init();
  //�?нициализация аудиообработки
  audioProcessing_Init();
  //�?нициализация
  InitDevice();
  //�?нициализация микрофона
  Microphone_Init();
  Microphone_Start_Capture();
  //Включение усилителя звука
  HAL_GPIO_WritePin(MAX_SD_GPIO_Port, MAX_SD_Pin, 1);

  //Определение USB
  detect_usb_input();

  //Отладка
//  DWT->CTRL |= DWT_CTRL_CYCCNTENA_Msk;
//  CoreDebug->DEMCR |= CoreDebug_DEMCR_TRCENA_Msk;

  /* USER CODE END 2 */

  /* Infinite loop */
  /* USER CODE BEGIN WHILE */
  while (1)
  {
	  update_sensor_data();

	  sdcard_init();

	  buttons_control();

	  detect_usb_input();

    /* USER CODE END WHILE */

  }
}

void SystemClock_Config(void)
{
  RCC_OscInitTypeDef RCC_OscInitStruct = {0};
  RCC_ClkInitTypeDef RCC_ClkInitStruct = {0};
  RCC_PeriphCLKInitTypeDef PeriphClkInitStruct = {0};

  /** Configure the main internal regulator output voltage
  */
  __HAL_RCC_PWR_CLK_ENABLE();
  __HAL_PWR_VOLTAGESCALING_CONFIG(PWR_REGULATOR_VOLTAGE_SCALE1);
  /** Initializes the RCC Oscillators according to the specified parameters
  * in the RCC_OscInitTypeDef structure.
  */
  RCC_OscInitStruct.OscillatorType = RCC_OSCILLATORTYPE_HSE|RCC_OSCILLATORTYPE_LSE;
  RCC_OscInitStruct.HSEState = RCC_HSE_ON;
  RCC_OscInitStruct.LSEState = RCC_LSE_ON;
  RCC_OscInitStruct.PLL.PLLState = RCC_PLL_ON;
  RCC_OscInitStruct.PLL.PLLSource = RCC_PLLSOURCE_HSE;
  RCC_OscInitStruct.PLL.PLLM = 8;
  RCC_OscInitStruct.PLL.PLLN = 160;
  RCC_OscInitStruct.PLL.PLLP = RCC_PLLP_DIV2;
  RCC_OscInitStruct.PLL.PLLQ = 5;
  RCC_OscInitStruct.PLL.PLLR = 5;
  if (HAL_RCC_OscConfig(&RCC_OscInitStruct) != HAL_OK)
  {
    Error_Handler();
  }
  /** Initializes the CPU, AHB and APB buses clocks
  */
  RCC_ClkInitStruct.ClockType = RCC_CLOCKTYPE_HCLK|RCC_CLOCKTYPE_SYSCLK
                              |RCC_CLOCKTYPE_PCLK1|RCC_CLOCKTYPE_PCLK2;
  RCC_ClkInitStruct.SYSCLKSource = RCC_SYSCLKSOURCE_PLLCLK;
  RCC_ClkInitStruct.AHBCLKDivider = RCC_SYSCLK_DIV1;
  RCC_ClkInitStruct.APB1CLKDivider = RCC_HCLK_DIV2;
  RCC_ClkInitStruct.APB2CLKDivider = RCC_HCLK_DIV2;

  if (HAL_RCC_ClockConfig(&RCC_ClkInitStruct, FLASH_LATENCY_4) != HAL_OK)
  {
    Error_Handler();
  }
  PeriphClkInitStruct.PeriphClockSelection = RCC_PERIPHCLK_I2S_APB2|RCC_PERIPHCLK_RTC
                              |RCC_PERIPHCLK_SDIO|RCC_PERIPHCLK_CLK48;
  PeriphClkInitStruct.PLLI2S.PLLI2SN = 317;
  PeriphClkInitStruct.PLLI2S.PLLI2SM = 11;
  PeriphClkInitStruct.PLLI2S.PLLI2SR = 7;
  PeriphClkInitStruct.PLLI2S.PLLI2SQ = 8;
  PeriphClkInitStruct.RTCClockSelection = RCC_RTCCLKSOURCE_LSE;
  PeriphClkInitStruct.Clk48ClockSelection = RCC_CLK48CLKSOURCE_PLLQ;
  PeriphClkInitStruct.SdioClockSelection = RCC_SDIOCLKSOURCE_CLK48;
  PeriphClkInitStruct.I2sApb2ClockSelection = RCC_I2SAPB2CLKSOURCE_PLLI2S;
  PeriphClkInitStruct.PLLI2SSelection = RCC_PLLI2SCLKSOURCE_PLLSRC;
  if (HAL_RCCEx_PeriphCLKConfig(&PeriphClkInitStruct) != HAL_OK)
  {
    Error_Handler();
  }
}

void Error_Handler(void)
{
}

/************************ (C) COPYRIGHT STMicroelectronics *****END OF FILE****/
